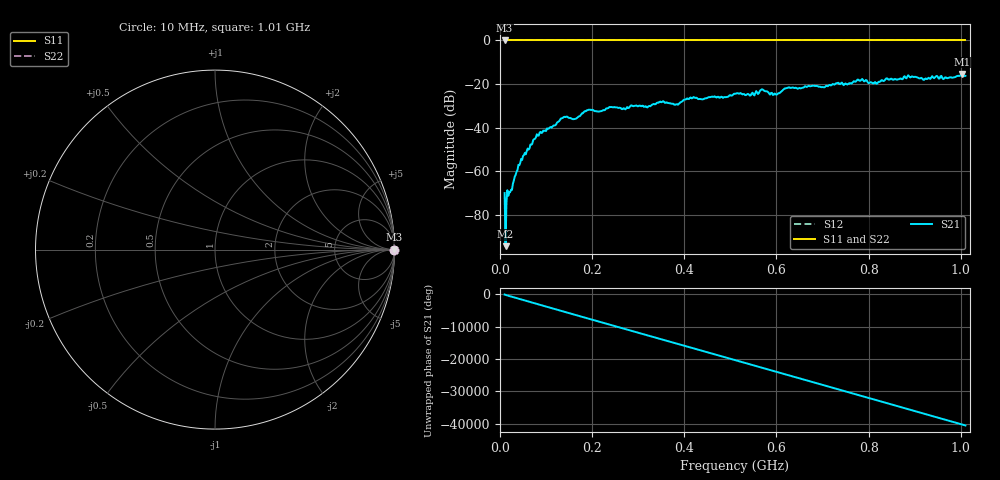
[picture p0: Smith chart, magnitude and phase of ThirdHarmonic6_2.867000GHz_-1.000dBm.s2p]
! 8/17/2025 7:49:33 AM
! C:\ANRITSUVNA\TEMP\TEMP.S2P
! CHANNEL.1
! TR.MEASUREMENT
! RAW.DATA
! RF.CORRECTION.OFF
! AVERAGING.OFF
! IF.BANDWIDTH: 5KHZ
! SWEEPTYPE:  FREQ.SWEEP(Linear)
! Reference Plane Port Info
! PORT:  PORT1  PORT2
! DISTANCE:  0  m  0  m
! TIME:  0  s  0  s
! PHASE.OFFSET:  0  deg.  0  deg.
! LOSS:  0  dB  0  dB
! REF.LOSS:  0  dB  0  dB
! REF.FREQ:  0  Hz  0  Hz
! Power Info
! POWER:  -20  dBm  -20  dBm
! EFF.POWER:  -20  dBm  -20  dBm
! SOURCE.ATTEN:  0  dB  0  dB
! TEST.ATTEN:  0  dB  0  dB
# GHZ S RI R 50.0
! FREQ.GHZ  S11RE  S11IM  S21RE  S21IM  S12RE  S12IM  S22RE  S22IM
!; PortSelection: Port_12
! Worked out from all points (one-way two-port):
!   501 points, 10 MHz to 1.01 GHz, reference 50 ohm
!   highest |S21| = -15.39 dB at 1.002 GHz (marker M1); lowest = -94.3 dB at 12 MHz (marker M2)
!   lowest |S11| = 0.0 dB at 10 MHz (marker M3)
!   |S11| at or under -10 dB: nowhere
!   |S22| runs from 0.0 to 0.0 dB; largest |S21 - S12| = 1.2
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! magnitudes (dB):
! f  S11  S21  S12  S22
! 10 MHz  0.0  -70.0  0.0  0.0
! 12 MHz  0.0  -94.3  0.0  0.0
! 16 MHz  0.0  -68.6  0.0  0.0
! 50 MHz  0.0  -52.9  0.0  0.0
! 76 MHz  0.0  -45.1  0.0  0.0
! 136 MHz  0.0  -35.5  0.0  0.0
! 162 MHz  0.0  -36.0  0.0  0.0
! 178 MHz  0.0  -33.4  0.0  0.0
! 192 MHz  0.0  -31.8  0.0  0.0
! 322 MHz  0.0  -30.2  0.0  0.0
! 344 MHz  0.0  -28.6  0.0  0.0
! 382 MHz  0.0  -29.3  0.0  0.0
! 416 MHz  0.0  -26.5  0.0  0.0
! 510 MHz  0.0  -24.4  0.0  0.0
! 548 MHz  0.0  -23.9  0.0  0.0
! 570 MHz  0.0  -22.5  0.0  0.0
! 596 MHz  0.0  -24.3  0.0  0.0
! 624 MHz  0.0  -21.6  0.0  0.0
! 678 MHz  0.0  -20.8  0.0  0.0
! 844 MHz  0.0  -18.0  0.0  0.0
! 1.002 GHz  0.0  -15.4  0.0  0.0
! 1.01 GHz  0.0  -16.2  0.0  0.0
